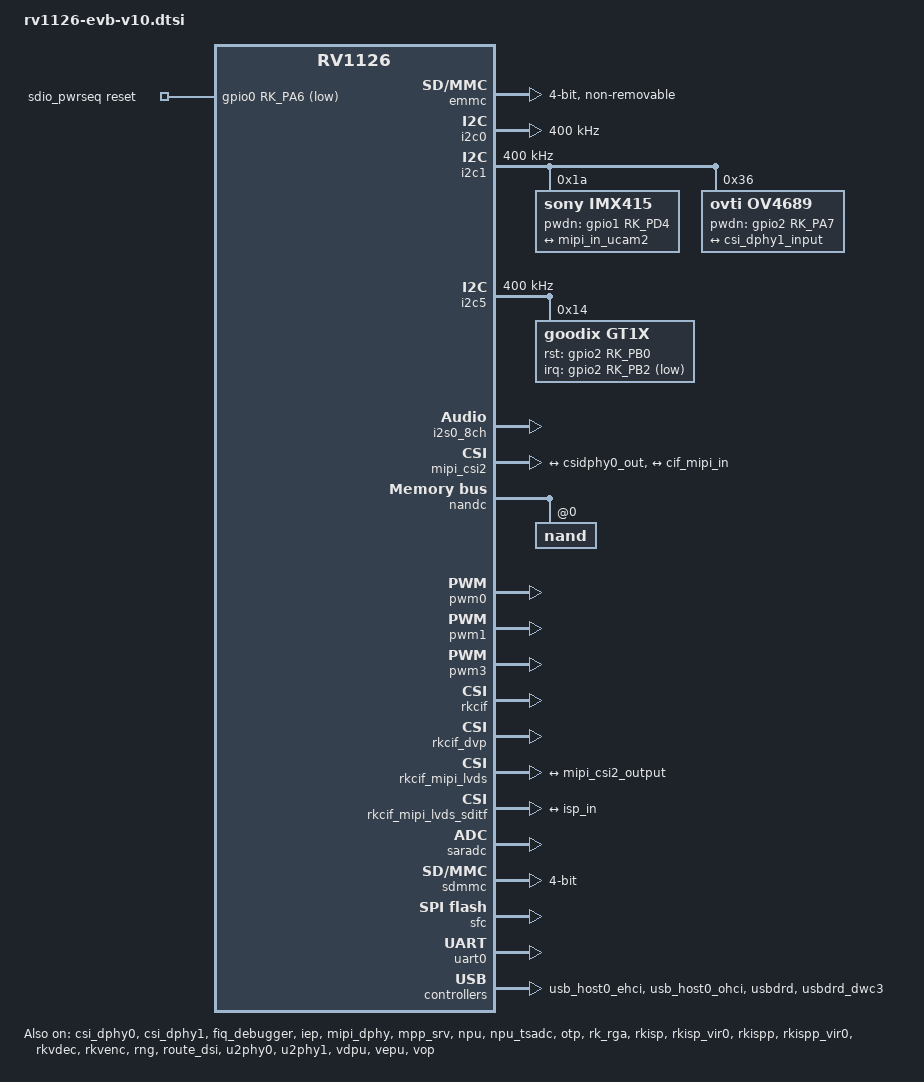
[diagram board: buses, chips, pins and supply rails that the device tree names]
// SPDX-License-Identifier: (GPL-2.0+ OR MIT)
/*
 * Copyright (c) 2019 Fuzhou Rockchip Electronics Co., Ltd.
 */

#include <dt-bindings/display/drm_mipi_dsi.h>
#include <dt-bindings/input/input.h>

/ {

	sdio_pwrseq: sdio-pwrseq {
		compatible = "mmc-pwrseq-simple";
		pinctrl-names = "default";
		pinctrl-0 = <&wifi_enable_h>;

		/*
		 * On the module itself this is one of these (depending
		 * on the actual card populated):
		 * - SDIO_RESET_L_WL_REG_ON
		 * - PDN (power down when low)
		 */
		reset-gpios = <&gpio0 RK_PA6 GPIO_ACTIVE_LOW>;
	};

};

&cpu_tsadc {
	status = "okay";
};

&csi_dphy0 {
	status = "okay";

	ports {
		#address-cells = <1>;
		#size-cells = <0>;
		port@0 {
			reg = <0>;
			#address-cells = <1>;
			#size-cells = <0>;

			mipi_in_ucam0: endpoint@1 {
				reg = <1>;
				remote-endpoint = <&ucam_out0>;
				data-lanes = <1 2 3 4>;
			};

			mipi_in_ucam2: endpoint@2 {
				reg = <2>;
				remote-endpoint = <&ucam_out2>;
				data-lanes = <1 2 3 4>;
			};

			mipi_in_ucam3: endpoint@3 {
				reg = <3>;
				remote-endpoint = <&ucam_out3>;
				data-lanes = <1 2 3 4>;
			};
		};
		port@1 {
			reg = <1>;
			#address-cells = <1>;
			#size-cells = <0>;

			csidphy0_out: endpoint@0 {
				reg = <0>;
				remote-endpoint = <&mipi_csi2_input>;
			};
		};
	};
};

&csi_dphy1 {
	status = "okay";

	ports {
		#address-cells = <1>;
		#size-cells = <0>;

		port@0 {
			reg = <0>;
			#address-cells = <1>;
			#size-cells = <0>;

			csi_dphy1_input: endpoint@1 {
				reg = <1>;
				remote-endpoint = <&ucam_out1>;
				data-lanes = <1 2 3 4>;
			};
		};

		port@1 {
			reg = <1>;
			#address-cells = <1>;
			#size-cells = <0>;

			csi_dphy1_output: endpoint@0 {
				reg = <0>;
				/*remote-endpoint = <&mipi_csi2_input>;*/
				data-lanes = <1 2 3 4>;
			};
		};
	};
};

&emmc {
	bus-width = <4>;
	cap-mmc-highspeed;
	non-removable;
	rockchip,default-sample-phase = <90>;
	supports-emmc;
	/delete-property/ pinctrl-names;
	/delete-property/ pinctrl-0;
	status = "okay";
};

&fiq_debugger {
	status = "okay";
};

&i2c0 {
	status = "okay";
	clock-frequency = <400000>;

	};
};

&i2c1 {
	status = "okay";
	clock-frequency = <400000>;

	imx415: imx415@1a {
		compatible = "sony,imx415";
		reg = <0x1a>;
		clocks = <&cru CLK_MIPICSI_OUT>;
		clock-names = "xvclk";
		power-domains = <&power RV1126_PD_VI>;
		pinctrl-names = "rockchip,camera_default";
		pinctrl-0 = <&mipicsi_clk0>;
		pwdn-gpios = <&gpio1 RK_PD4 GPIO_ACTIVE_HIGH>;
		rockchip,camera-module-index = <1>;
		rockchip,camera-module-facing = "front";
		rockchip,camera-module-name = "YT10092";
		rockchip,camera-module-lens-name = "IR0147-36IRC-8M-F20";
		ir-cut = <&cam_ircut0>;
		port {
			ucam_out2: endpoint {
				remote-endpoint = <&mipi_in_ucam2>;
				data-lanes = <1 2 3 4>;
			};
		};
	};


	ov4689: ov4689@36 {
		compatible = "ovti,ov4689";
		reg = <0x36>;
		clocks = <&cru CLK_MIPICSI_OUT>;
		clock-names = "xvclk";
		power-domains = <&power RV1126_PD_VI>;
		pinctrl-names = "rockchip,camera_default";
		pinctrl-0 = <&mipicsi_clk1>;
		/*pinctrl-0 = <&mipicsi_clk0>;*/
		pwdn-gpios = <&gpio2 RK_PA7 GPIO_ACTIVE_HIGH>;
		/*pwdn-gpios = <&gpio1 RK_PD4 GPIO_ACTIVE_HIGH>;*/
		rockchip,camera-module-index = <1>;
		rockchip,camera-module-facing = "front";
		rockchip,camera-module-name = "JSD3425-C1";
		rockchip,camera-module-lens-name = "JSD3425-C1";
		/* NO_HDR:0 HDR_X2:5 HDR_X3:6 */
		rockchip,camera-hdr-mode = <0>;
		port {
			ucam_out1: endpoint {
				remote-endpoint = <&csi_dphy1_input>;
				data-lanes = <1 2 3 4>;
			};
		};

	};
};

&i2c5 {
	status = "okay";
	clock-frequency = <400000>;

	gt1x: gt1x@14 {
		compatible = "goodix,gt1x";
		reg = <0x14>;
		gtp_ics_slot_report;
		goodix,rst-gpio = <&gpio2 RK_PB0 GPIO_ACTIVE_HIGH>;
		goodix,irq-gpio = <&gpio2 RK_PB2 GPIO_ACTIVE_LOW>;
	};
};

&i2s0_8ch {
	status = "okay";
	#sound-dai-cells = <0>;
	rockchip,clk-trcm = <1>;
	rockchip,i2s-rx-route = <3 1 2 0>;
	pinctrl-names = "default";
	pinctrl-0 = <&i2s0m0_sclk_tx
		     &i2s0m0_lrck_tx
		     &i2s0m0_sdo0
		     &i2s0m0_sdo1_sdi3>;
};

&iep {
	status = "okay";
};

&iep_mmu {
	status = "okay";
};

&mipi_csi2 {
	status = "okay";

	ports {
		#address-cells = <1>;
		#size-cells = <0>;

		port@0 {
			reg = <0>;
			#address-cells = <1>;
			#size-cells = <0>;

			mipi_csi2_input: endpoint@1 {
				reg = <1>;
				remote-endpoint = <&csidphy0_out>;
				data-lanes = <1 2 3 4>;
			};
		};

		port@1 {
			reg = <1>;
			#address-cells = <1>;
			#size-cells = <0>;

			mipi_csi2_output: endpoint@0 {
				reg = <0>;
				remote-endpoint = <&cif_mipi_in>;
				data-lanes = <1 2 3 4>;
			};
		};
	};
};

&mipi_dphy {
	status = "okay";
};

&mpp_srv {
	status = "okay";
};

&nandc {
	/delete-property/ pinctrl-names;
	/delete-property/ pinctrl-0;
	#address-cells = <1>;
	#size-cells = <0>;

	nand@0 {
		reg = <0>;
		nand-bus-width = <4>;
		nand-ecc-mode = "hw";
		nand-ecc-strength = <16>;
		nand-ecc-step-size = <1024>;
	};
};

&npu {
	status = "okay";
};

&npu_tsadc {
	status = "okay";
};

&optee {
	status = "disabled";
};

&otp {
	status = "okay";
};

&pdm {
	status = "disabled";
	#sound-dai-cells = <0>;
	pinctrl-names = "default";
	pinctrl-0 = <&pdmm0_clk
		     &pdmm0_clk1
		     &pdmm0_sdi0
		     &pdmm0_sdi1
		     &pdmm0_sdi2>;
};

&pinctrl {
	pmic {
		/omit-if-no-ref/
		pmic_int: pmic_int {
			rockchip,pins =
				<0 RK_PB1 RK_FUNC_GPIO &pcfg_pull_up>;
		};

		/omit-if-no-ref/
		soc_slppin_gpio: soc_slppin_gpio {
			rockchip,pins =
				<0 RK_PB2 RK_FUNC_GPIO &pcfg_output_low>;
		};

		/omit-if-no-ref/
		soc_slppin_slp: soc_slppin_slp {
			rockchip,pins =
				<0 RK_PB2 RK_FUNC_1 &pcfg_pull_none>;
		};

		/omit-if-no-ref/
		soc_slppin_rst: soc_slppin_rst {
			rockchip,pins =
				<0 RK_PB2 RK_FUNC_2 &pcfg_pull_none>;
		};
	};

	sdio-pwrseq {
		/omit-if-no-ref/
		wifi_enable_h: wifi-enable-h {
			rockchip,pins = <0 RK_PA6 RK_FUNC_GPIO &pcfg_pull_none>;
		};
	};

	wireless-wlan {
		/omit-if-no-ref/
		wifi_wake_host: wifi-wake-host {
			rockchip,pins = <0 RK_PB0 0 &pcfg_pull_up>;
		};
	};
};

&pwm0 {
	status = "okay";
	pinctrl-names = "active";
	pinctrl-0 = <&pwm0m0_pins_pull_down>;
};

&pwm1 {
	status = "okay";
	pinctrl-names = "active";
	pinctrl-0 = <&pwm1m0_pins_pull_down>;
};

&pwm3 {
	status = "okay";
};

&ramoops {
	status = "okay";
};

&rk_rga {
	status = "okay";
};

&rkcif {
	status = "okay";
};

&rkcif_mmu {
	status = "disabled";
};

&rkcif_dvp {
	status = "okay";

	port {
		/* Parallel bus endpoint */
		/*
		cif_para_in: endpoint {
			remote-endpoint = <&cam_para_out1>;
			bus-width = <12>;
			hsync-active = <1>;
			vsync-active = <0>;
		};
		*/
	};
};

&rkcif_mipi_lvds {
	status = "okay";

	port {
		/* MIPI CSI-2 endpoint */
		cif_mipi_in: endpoint {
			remote-endpoint = <&mipi_csi2_output>;
			data-lanes = <1 2 3 4>;
		};
	};
};

&rkcif_mipi_lvds_sditf {
	status = "okay";

	port {
		/* MIPI CSI-2 endpoint */
		mipi_lvds_sditf: endpoint {
			remote-endpoint = <&isp_in>;
			data-lanes = <1 2 3 4>;
		};
	};
};

&rkisp {
	status = "okay";
};

&rkisp_vir0 {
	status = "okay";

	ports {
		port@0 {
			reg = <0>;
			#address-cells = <1>;
			#size-cells = <0>;

			isp_in: endpoint@0 {
				reg = <0>;
				remote-endpoint = <&mipi_lvds_sditf>;
			};
		};
	};
};

&rkisp_mmu {
	status = "disabled";
};

&rkispp {
	status = "okay";
	/* the max input w h and fps of mulit sensor */
	//max-input = <2688 1520 30>;
};

&rkispp_vir0 {
	status = "okay";
};

&rkispp_mmu {
	status = "okay";
};

&rkvdec {
	status = "okay";
};

&rkvdec_mmu {
	status = "okay";
};

&rkvenc {
	status = "okay";
};

&rkvenc_mmu {
	status = "okay";
};

&rng {
	status = "okay";
};

&rockchip_suspend {
	status = "okay";
	rockchip,sleep-debug-en = <1>;
	rockchip,sleep-mode-config = <
		(0
		| RKPM_SLP_ARMOFF
		| RKPM_SLP_PMU_PMUALIVE_32K
		| RKPM_SLP_PMU_DIS_OSC
		| RKPM_SLP_PMIC_LP
		)
	>;
	rockchip,wakeup-config = <
		(0
		| RKPM_GPIO_WKUP_EN
		)
	>;
};

&route_dsi {
	status = "okay";
};

&saradc {
	status = "okay";
};

&sdmmc {
	bus-width = <4>;
	cap-mmc-highspeed;
	cap-sd-highspeed;
	card-detect-delay = <200>;
	rockchip,default-sample-phase = <90>;
	supports-sd;
	broken-cd;
	sd-uhs-sdr12;
	sd-uhs-sdr25;
	sd-uhs-sdr104;
	status = "okay";
};

&sfc {
	/delete-property/ pinctrl-names;
	/delete-property/ pinctrl-0;
	status = "okay";
};

&u2phy0 {
	status = "okay";
	vup-gpios = <&gpio0 RK_PC1 GPIO_ACTIVE_LOW>;
	u2phy_otg: otg-port {
		status = "okay";
	};
};

&u2phy1 {
	status = "okay";
	u2phy_host: host-port {
		status = "okay";
	};
};

&uart0 {
	pinctrl-names = "default";
	pinctrl-0 = <&uart0_xfer &uart0_ctsn>;
	status = "okay";
};

&usb_host0_ehci {
	status = "okay";
};

&usb_host0_ohci {
	status = "okay";
};

&usbdrd {
	status = "okay";
};

&usbdrd_dwc3 {
	status = "okay";
	extcon = <&u2phy0>;
};

&vdpu {
	status = "okay";
};

&vepu {
	status = "okay";
};

&vpu_mmu {
	status = "okay";
};

&vop {
	status = "okay";
};

&vop_mmu {
	status = "okay";
};
